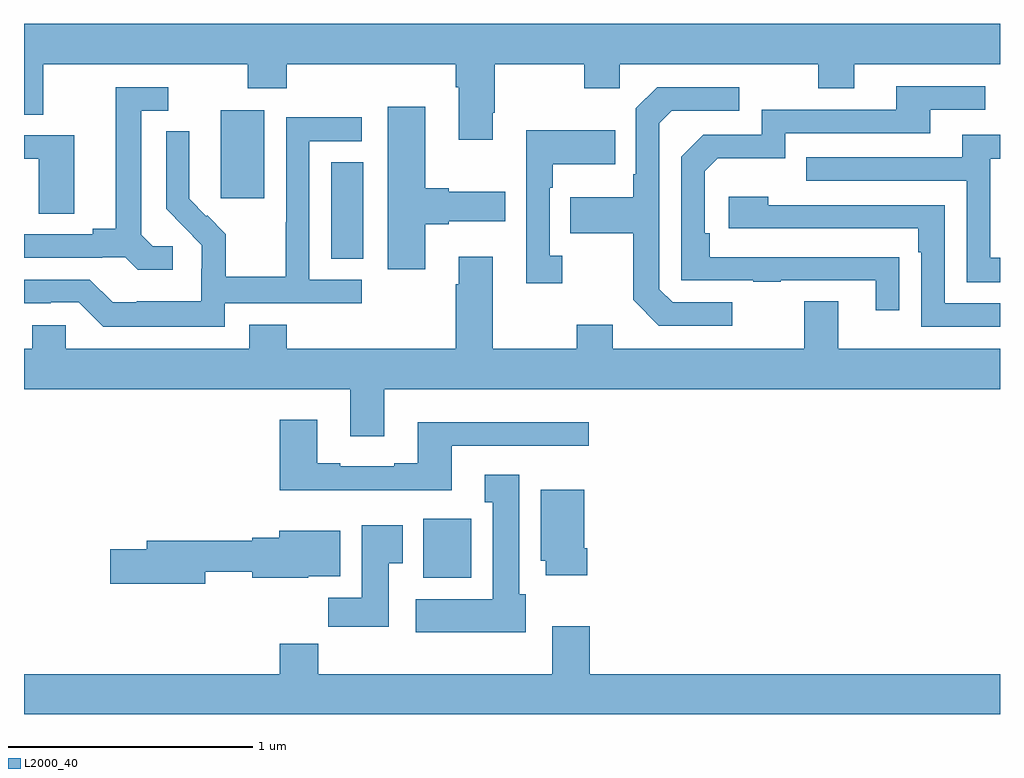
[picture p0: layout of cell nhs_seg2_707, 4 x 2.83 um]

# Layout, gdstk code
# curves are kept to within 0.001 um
import gdstk
lib = gdstk.Library(unit=1e-6, precision=1e-09)
def R(c, l, rs):  # rectangles x0, y0, x1, y1
    for r in rs: c.add(gdstk.rectangle(r[:2], r[2:], *l))
def P(c, l, *ps):  # polygons
    for p in ps: c.add(gdstk.Polygon(p, *l))
L2000_40 = (2000, 40)

nhs_seg2_707 = lib.new_cell('nhs_seg2_707')
R(nhs_seg2_707, L2000_40, [(148.637,622.886,148.834,623.128), (148.259,624.193,148.39,624.59), (147.806,624.441,147.985,624.802)])
P(nhs_seg2_707, L2000_40, [(147,624.784),(147.079,624.784),(147.079,624.992),(147.916,624.992),(147.916,624.893),(148.076,624.893),(148.076,624.992),(148.769,624.992),(148.769,624.896),(148.781,624.896),(148.781,624.681),(148.921,624.681),(148.921,624.793),(148.929,624.793),(148.929,624.992),(149.296,624.992),(149.296,624.893),(149.442,624.893),(149.442,624.992),(150.256,624.992),(150.256,624.893),(150.403,624.893),(150.403,624.992),(151,624.992),(151,625.156),(147,625.156)],
  [(150.587,624.2),(149.81,624.201),(149.81,624.298),(149.79,624.298),(149.79,624.552),(149.843,624.605),(150.12,624.605),(150.12,624.708),(150.715,624.708),(150.715,624.804),(150.94,624.804),(150.94,624.9),(150.575,624.9),(150.575,624.804),(150.024,624.804),(150.024,624.702),(149.784,624.702),(149.694,624.612),(149.694,624.105),(149.989,624.105),(149.989,624.1),(150.101,624.1),(150.101,624.105),(150.491,624.105),(150.491,623.982),(150.587,623.982)],
  [(147.61,624.246),(147.528,624.246),(147.481,624.293),(147.481,624.801),(147.592,624.801),(147.592,624.897),(147.377,624.897),(147.377,624.317),(147.281,624.317),(147.281,624.294),(147,624.294),(147,624.198),(147.32,624.198),(147.32,624.201),(147.414,624.201),(147.466,624.149),(147.61,624.149)],
  [(149.902,624.015),(149.658,624.015),(149.604,624.069),(149.604,624.75),(149.655,624.801),(149.932,624.801),(149.932,624.897),(149.595,624.897),(149.508,624.81),(149.508,624.541),(149.496,624.541),(149.496,624.445),(149.239,624.445),(149.239,624.298),(149.496,624.298),(149.496,624.025),(149.601,623.919),(149.902,623.919)],
  [(148.645,624.335),(148.741,624.335),(148.741,624.347),(148.972,624.347),(148.972,624.469),(148.741,624.469),(148.741,624.482),(148.645,624.482),(148.645,624.817),(148.49,624.817),(148.49,624.15),(148.645,624.15)],
  [(147.822,624.012),(148.384,624.012),(148.384,624.108),(148.17,624.108),(148.17,624.675),(148.384,624.675),(148.384,624.774),(148.074,624.774),(148.074,624.344),(148.072,624.344),(148.072,624.121),(147.827,624.121),(147.827,624.295),(147.75,624.372),(147.747,624.369),(147.677,624.44),(147.678,624.716),(147.582,624.716),(147.582,624.398),(147.728,624.25),(147.728,624.153),(147.726,624.153),(147.726,624.019),(147.463,624.019),(147.463,624.015),(147.363,624.015),(147.27,624.108),(147,624.108),(147,624.012),(147.11,624.012),(147.11,624.015),(147.225,624.015),(147.325,623.915),(147.822,623.915)],
  [(149.206,624.206),(149.154,624.206),(149.154,624.485),(149.167,624.485),(149.167,624.581),(149.423,624.581),(149.423,624.721),(149.058,624.721),(149.058,624.093),(149.206,624.093)],
  [(151,624.198),(150.96,624.198),(150.96,624.603),(151,624.603),(151,624.703),(150.845,624.703),(150.845,624.609),(150.205,624.609),(150.205,624.513),(150.864,624.513),(150.864,624.097),(151,624.097)],
  [(147.205,624.699),(147,624.699),(147,624.603),(147.06,624.603),(147.06,624.379),(147.205,624.379)],
  [(151,624.012),(150.774,624.012),(150.774,624.414),(150.05,624.414),(150.05,624.448),(149.889,624.448),(149.889,624.318),(150.665,624.318),(150.665,624.221),(150.678,624.221),(150.678,623.916),(151,623.916)],
  [(148.076,623.923),(147.923,623.923),(147.923,623.824),(147.171,623.824),(147.171,623.922),(147.033,623.922),(147.033,623.824),(147,623.824),(147,623.66),(148.337,623.66),(148.337,623.466),(148.477,623.466),(148.477,623.66),(151,623.66),(151,623.824),(150.337,623.824),(150.337,624.019),(150.197,624.019),(150.197,623.824),(149.413,623.824),(149.413,623.923),(149.266,623.923),(149.266,623.824),(148.921,623.824),(148.921,624.202),(148.781,624.202),(148.781,624.089),(148.769,624.089),(148.769,623.824),(148.076,623.824)],
  [(148.753,623.427),(149.314,623.427),(149.314,623.524),(148.613,623.524),(148.613,623.356),(148.517,623.356),(148.517,623.343),(148.297,623.343),(148.297,623.356),(148.201,623.356),(148.201,623.533),(148.049,623.533),(148.049,623.246),(148.753,623.246)],
  [(149.056,622.818),(149.029,622.818),(149.029,623.308),(148.889,623.308),(148.889,623.195),(148.922,623.195),(148.922,622.798),(148.605,622.798),(148.605,622.664),(149.056,622.664)],
  [(149.309,623.008),(149.296,623.008),(149.296,623.248),(149.117,623.248),(149.117,622.956),(149.138,622.956),(149.138,622.896),(149.309,622.896)],
  [(148.495,622.945),(148.552,622.945),(148.552,623.101),(148.385,623.101),(148.385,622.804),(148.246,622.804),(148.246,622.686),(148.495,622.686)],
  [(147.742,622.911),(147.935,622.911),(147.935,622.886),(148.164,622.886),(148.164,622.892),(148.297,622.892),(148.297,623.08),(148.046,623.08),(148.046,623.05),(147.935,623.05),(147.935,623.039),(147.503,623.039),(147.503,623.003),(147.354,623.003),(147.354,622.861),(147.742,622.861)],
  [(151,622.492),(149.318,622.492),(149.318,622.687),(149.165,622.687),(149.165,622.492),(148.205,622.492),(148.205,622.616),(148.049,622.616),(148.049,622.492),(147,622.492),(147,622.328),(151,622.328)])

lib.write_gds('nhs_seg2_707.gds')
